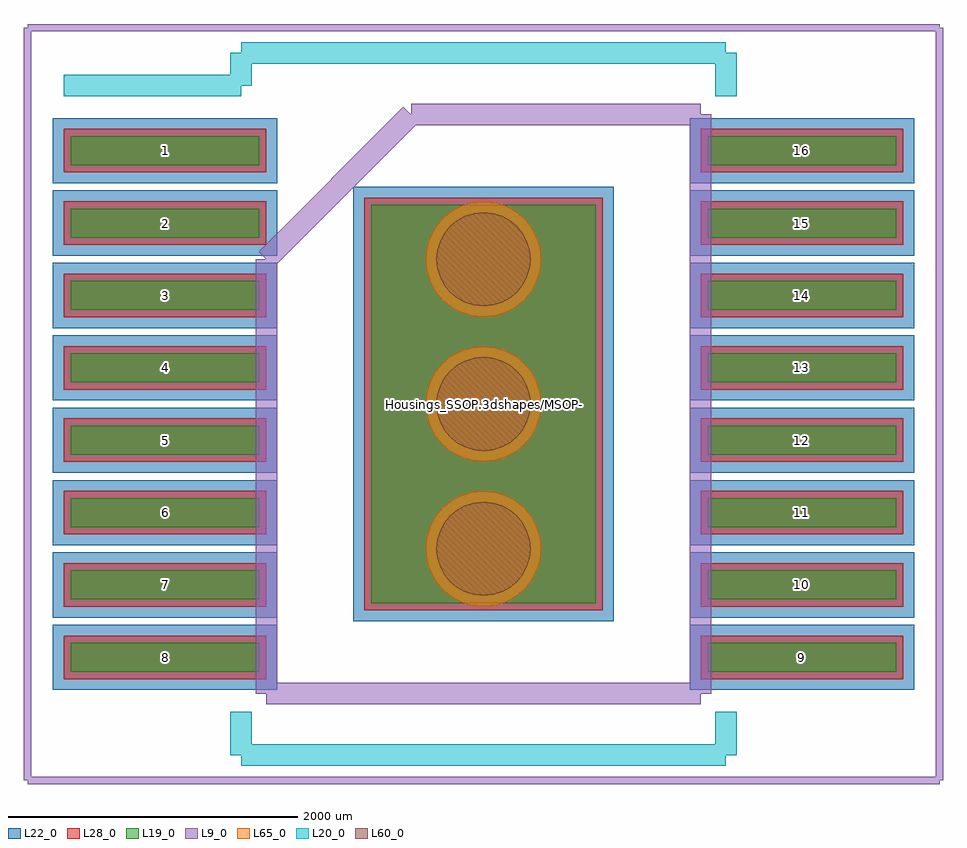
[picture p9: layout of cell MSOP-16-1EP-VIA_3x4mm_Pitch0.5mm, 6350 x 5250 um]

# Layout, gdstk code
import gdstk
lib = gdstk.Library(unit=1e-6, precision=1e-09)
def R(c, l, rs):  # rectangles x0, y0, x1, y1
    for r in rs: c.add(gdstk.rectangle(r[:2], r[2:], *l))
def A(c, l, x, y, w, h, nx, ny, dx, dy):  # array of equal rectangles
    R(c, l, [(x+i*dx, y+j*dy, x+i*dx+w, y+j*dy+h) for i in range(nx) for j in range(ny)])
def P(c, l, *ps):  # polygons
    for p in ps: c.add(gdstk.Polygon(p, *l))
L9_0 = (9, 0)
L19_0 = (19, 0)
L20_0 = (20, 0)
L22_0 = (22, 0)
L28_0 = (28, 0)
L60_0 = (60, 0)
L65_0 = (65, 0)

msop_16_1ep_via_3x4mm_pi = lib.new_cell('MSOP-16-1EP-VIA_3x4mm_Pitch0.5mm')
A(msop_16_1ep_via_3x4mm_pi, L19_0, -2850, -1850, 1300, 200, 1, 8, 0, 500)
A(msop_16_1ep_via_3x4mm_pi, L19_0, 1550, -1850, 1300, 200, 1, 8, 0, 500)
R(msop_16_1ep_via_3x4mm_pi, L19_0, [(-775,-1375,775,1375)])
A(msop_16_1ep_via_3x4mm_pi, L22_0, -2975, -1975, 1550, 450, 1, 8, 0, 500)
A(msop_16_1ep_via_3x4mm_pi, L22_0, 1425, -1975, 1550, 450, 1, 8, 0, 500)
R(msop_16_1ep_via_3x4mm_pi, L22_0, [(-900,-1500,900,1500)])
P(msop_16_1ep_via_3x4mm_pi, L22_0, [(400,1000),(392.314,1078.036),(369.552,1153.073),(332.588,1222.228),(282.843,1282.843),(222.228,1332.588),(153.073,1369.552),(78.036,1392.314),(0,1400),(-78.036,1392.314),(-153.073,1369.552),(-222.228,1332.588),(-282.843,1282.843),(-332.588,1222.228),(-369.552,1153.073),(-392.314,1078.036),(-400,1000),(-392.314,921.964),(-369.552,846.927),(-332.588,777.772),(-282.843,717.157),(-222.228,667.412),(-153.073,630.448),(-78.036,607.686),(0,600),(78.036,607.686),(153.073,630.448),(222.228,667.412),(282.843,717.157),(332.588,777.772),(369.552,846.927),(392.314,921.964)],
  [(400,-1000),(392.314,-921.964),(369.552,-846.927),(332.588,-777.772),(282.843,-717.157),(222.228,-667.412),(153.073,-630.448),(78.036,-607.686),(0,-600),(-78.036,-607.686),(-153.073,-630.448),(-222.228,-667.412),(-282.843,-717.157),(-332.588,-777.772),(-369.552,-846.927),(-392.314,-921.964),(-400,-1000),(-392.314,-1078.036),(-369.552,-1153.073),(-332.588,-1222.228),(-282.843,-1282.843),(-222.228,-1332.588),(-153.073,-1369.552),(-78.036,-1392.314),(0,-1400),(78.036,-1392.314),(153.073,-1369.552),(222.228,-1332.588),(282.843,-1282.843),(332.588,-1222.228),(369.552,-1153.073),(392.314,-1078.036)],
  [(400,0),(392.314,78.036),(369.552,153.073),(332.588,222.228),(282.843,282.843),(222.228,332.588),(153.073,369.552),(78.036,392.314),(0,400),(-78.036,392.314),(-153.073,369.552),(-222.228,332.588),(-282.843,282.843),(-332.588,222.228),(-369.552,153.073),(-392.314,78.036),(-400,0),(-392.314,-78.036),(-369.552,-153.073),(-332.588,-222.228),(-282.843,-282.843),(-222.228,-332.588),(-153.073,-369.552),(-78.036,-392.314),(0,-400),(78.036,-392.314),(153.073,-369.552),(222.228,-332.588),(282.843,-282.843),(332.588,-222.228),(369.552,-153.073),(392.314,-78.036)])
A(msop_16_1ep_via_3x4mm_pi, L28_0, -2900, -1900, 1400, 300, 1, 8, 0, 500)
A(msop_16_1ep_via_3x4mm_pi, L28_0, 1500, -1900, 1400, 300, 1, 8, 0, 500)
R(msop_16_1ep_via_3x4mm_pi, L28_0, [(-825,-1425,825,1425)])
P(msop_16_1ep_via_3x4mm_pi, L28_0, [(325,1000),(318.755,1063.404),(300.261,1124.372),(270.228,1180.56),(229.81,1229.81),(180.56,1270.228),(124.372,1300.261),(63.404,1318.755),(0,1325),(-63.404,1318.755),(-124.372,1300.261),(-180.56,1270.228),(-229.81,1229.81),(-270.228,1180.56),(-300.261,1124.372),(-318.755,1063.404),(-325,1000),(-318.755,936.596),(-300.261,875.628),(-270.228,819.44),(-229.81,770.19),(-180.56,729.772),(-124.372,699.739),(-63.404,681.245),(0,675),(63.404,681.245),(124.372,699.739),(180.56,729.772),(229.81,770.19),(270.228,819.44),(300.261,875.628),(318.755,936.596)],
  [(325,-1000),(318.755,-936.596),(300.261,-875.628),(270.228,-819.44),(229.81,-770.19),(180.56,-729.772),(124.372,-699.739),(63.404,-681.245),(0,-675),(-63.404,-681.245),(-124.372,-699.739),(-180.56,-729.772),(-229.81,-770.19),(-270.228,-819.44),(-300.261,-875.628),(-318.755,-936.596),(-325,-1000),(-318.755,-1063.404),(-300.261,-1124.372),(-270.228,-1180.56),(-229.81,-1229.81),(-180.56,-1270.228),(-124.372,-1300.261),(-63.404,-1318.755),(0,-1325),(63.404,-1318.755),(124.372,-1300.261),(180.56,-1270.228),(229.81,-1229.81),(270.228,-1180.56),(300.261,-1124.372),(318.755,-1063.404)],
  [(325,0),(318.755,63.404),(300.261,124.372),(270.228,180.56),(229.81,229.81),(180.56,270.228),(124.372,300.261),(63.404,318.755),(0,325),(-63.404,318.755),(-124.372,300.261),(-180.56,270.228),(-229.81,229.81),(-270.228,180.56),(-300.261,124.372),(-318.755,63.404),(-325,0),(-318.755,-63.404),(-300.261,-124.372),(-270.228,-180.56),(-229.81,-229.81),(-180.56,-270.228),(-124.372,-300.261),(-63.404,-318.755),(0,-325),(63.404,-318.755),(124.372,-300.261),(180.56,-270.228),(229.81,-229.81),(270.228,-180.56),(300.261,-124.372),(318.755,-63.404)])
P(msop_16_1ep_via_3x4mm_pi, L60_0, [(325,1000),(318.755,1063.404),(300.261,1124.372),(270.228,1180.56),(229.81,1229.81),(180.56,1270.228),(124.372,1300.261),(63.404,1318.755),(0,1325),(-63.404,1318.755),(-124.372,1300.261),(-180.56,1270.228),(-229.81,1229.81),(-270.228,1180.56),(-300.261,1124.372),(-318.755,1063.404),(-325,1000),(-318.755,936.596),(-300.261,875.628),(-270.228,819.44),(-229.81,770.19),(-180.56,729.772),(-124.372,699.739),(-63.404,681.245),(0,675),(63.404,681.245),(124.372,699.739),(180.56,729.772),(229.81,770.19),(270.228,819.44),(300.261,875.628),(318.755,936.596)],
  [(325,-1000),(318.755,-936.596),(300.261,-875.628),(270.228,-819.44),(229.81,-770.19),(180.56,-729.772),(124.372,-699.739),(63.404,-681.245),(0,-675),(-63.404,-681.245),(-124.372,-699.739),(-180.56,-729.772),(-229.81,-770.19),(-270.228,-819.44),(-300.261,-875.628),(-318.755,-936.596),(-325,-1000),(-318.755,-1063.404),(-300.261,-1124.372),(-270.228,-1180.56),(-229.81,-1229.81),(-180.56,-1270.228),(-124.372,-1300.261),(-63.404,-1318.755),(0,-1325),(63.404,-1318.755),(124.372,-1300.261),(180.56,-1270.228),(229.81,-1229.81),(270.228,-1180.56),(300.261,-1124.372),(318.755,-1063.404)],
  [(325,0),(318.755,63.404),(300.261,124.372),(270.228,180.56),(229.81,229.81),(180.56,270.228),(124.372,300.261),(63.404,318.755),(0,325),(-63.404,318.755),(-124.372,300.261),(-180.56,270.228),(-229.81,229.81),(-270.228,180.56),(-300.261,124.372),(-318.755,63.404),(-325,0),(-318.755,-63.404),(-300.261,-124.372),(-270.228,-180.56),(-229.81,-229.81),(-180.56,-270.228),(-124.372,-300.261),(-63.404,-318.755),(0,-325),(63.404,-318.755),(124.372,-300.261),(180.56,-270.228),(229.81,-229.81),(270.228,-180.56),(300.261,-124.372),(318.755,-63.404)])
P(msop_16_1ep_via_3x4mm_pi, L65_0, [(400,1000),(392.314,1078.036),(369.552,1153.073),(332.588,1222.228),(282.843,1282.843),(222.228,1332.588),(153.073,1369.552),(78.036,1392.314),(0,1400),(-78.036,1392.314),(-153.073,1369.552),(-222.228,1332.588),(-282.843,1282.843),(-332.588,1222.228),(-369.552,1153.073),(-392.314,1078.036),(-400,1000),(-392.314,921.964),(-369.552,846.927),(-332.588,777.772),(-282.843,717.157),(-222.228,667.412),(-153.073,630.448),(-78.036,607.686),(0,600),(78.036,607.686),(153.073,630.448),(222.228,667.412),(282.843,717.157),(332.588,777.772),(369.552,846.927),(392.314,921.964)],
  [(400,-1000),(392.314,-921.964),(369.552,-846.927),(332.588,-777.772),(282.843,-717.157),(222.228,-667.412),(153.073,-630.448),(78.036,-607.686),(0,-600),(-78.036,-607.686),(-153.073,-630.448),(-222.228,-667.412),(-282.843,-717.157),(-332.588,-777.772),(-369.552,-846.927),(-392.314,-921.964),(-400,-1000),(-392.314,-1078.036),(-369.552,-1153.073),(-332.588,-1222.228),(-282.843,-1282.843),(-222.228,-1332.588),(-153.073,-1369.552),(-78.036,-1392.314),(0,-1400),(78.036,-1392.314),(153.073,-1369.552),(222.228,-1332.588),(282.843,-1282.843),(332.588,-1222.228),(369.552,-1153.073),(392.314,-1078.036)],
  [(400,0),(392.314,78.036),(369.552,153.073),(332.588,222.228),(282.843,282.843),(222.228,332.588),(153.073,369.552),(78.036,392.314),(0,400),(-78.036,392.314),(-153.073,369.552),(-222.228,332.588),(-282.843,282.843),(-332.588,222.228),(-369.552,153.073),(-392.314,78.036),(-400,0),(-392.314,-78.036),(-369.552,-153.073),(-332.588,-222.228),(-282.843,-282.843),(-222.228,-332.588),(-153.073,-369.552),(-78.036,-392.314),(0,-400),(78.036,-392.314),(153.073,-369.552),(222.228,-332.588),(282.843,-282.843),(332.588,-222.228),(369.552,-153.073),(392.314,-78.036)])
msop_16_1ep_via_3x4mm_pi.add(gdstk.FlexPath([(-1675,2200),(-2900,2200)], 149.998, ends="flush", simple_path=True, layer=20, datatype=0))  # L20_0
msop_16_1ep_via_3x4mm_pi.add(gdstk.FlexPath([(-1675,-2425),(1675,-2425)], 149.998, ends="flush", simple_path=True, layer=20, datatype=0))  # L20_0
msop_16_1ep_via_3x4mm_pi.add(gdstk.FlexPath([(-1675,2425),(1675,2425)], 149.998, ends="flush", simple_path=True, layer=20, datatype=0))  # L20_0
msop_16_1ep_via_3x4mm_pi.add(gdstk.FlexPath([(-1675,-2425),(-1675,-2125)], 149.998, ends="flush", simple_path=True, layer=20, datatype=0))  # L20_0
msop_16_1ep_via_3x4mm_pi.add(gdstk.FlexPath([(1675,-2425),(1675,-2125)], 149.998, ends="flush", simple_path=True, layer=20, datatype=0))  # L20_0
msop_16_1ep_via_3x4mm_pi.add(gdstk.FlexPath([(1675,2425),(1675,2125)], 149.998, ends="flush", simple_path=True, layer=20, datatype=0))  # L20_0
msop_16_1ep_via_3x4mm_pi.add(gdstk.FlexPath([(-1675,2425),(-1675,2200)], 149.998, ends="flush", simple_path=True, layer=20, datatype=0))  # L20_0
msop_16_1ep_via_3x4mm_pi.add(gdstk.FlexPath([(-3150,-2600),(3150,-2600)], 50, ends="flush", simple_path=True, layer=9, datatype=0))  # L9_0
msop_16_1ep_via_3x4mm_pi.add(gdstk.FlexPath([(-3150,2600),(3150,2600)], 50, ends="flush", simple_path=True, layer=9, datatype=0))  # L9_0
msop_16_1ep_via_3x4mm_pi.add(gdstk.FlexPath([(3150,2600),(3150,-2600)], 50, ends="flush", simple_path=True, layer=9, datatype=0))  # L9_0
msop_16_1ep_via_3x4mm_pi.add(gdstk.FlexPath([(-3150,2600),(-3150,-2600)], 50, ends="flush", simple_path=True, layer=9, datatype=0))  # L9_0
msop_16_1ep_via_3x4mm_pi.add(gdstk.FlexPath([(-1500,1000),(-500,2000)], 149.998, ends="flush", simple_path=True, layer=9, datatype=0))  # L9_0
msop_16_1ep_via_3x4mm_pi.add(gdstk.FlexPath([(-1500,-2000),(-1500,1000)], 149.998, ends="flush", simple_path=True, layer=9, datatype=0))  # L9_0
msop_16_1ep_via_3x4mm_pi.add(gdstk.FlexPath([(1500,-2000),(-1500,-2000)], 149.998, ends="flush", simple_path=True, layer=9, datatype=0))  # L9_0
msop_16_1ep_via_3x4mm_pi.add(gdstk.FlexPath([(1500,2000),(1500,-2000)], 149.998, ends="flush", simple_path=True, layer=9, datatype=0))  # L9_0
msop_16_1ep_via_3x4mm_pi.add(gdstk.FlexPath([(-500,2000),(1500,2000)], 149.998, ends="flush", simple_path=True, layer=9, datatype=0))  # L9_0
msop_16_1ep_via_3x4mm_pi.add(gdstk.Label('Housings_SSOP.3dshapes/MSOP-16_3x4mm_Pitch0.5mm.wrl', (0,0), layer=12, texttype=0))
msop_16_1ep_via_3x4mm_pi.add(gdstk.Label('17', (0,0), layer=28, texttype=0))
msop_16_1ep_via_3x4mm_pi.add(gdstk.Label('9', (2200,-1750), layer=28, texttype=0))
msop_16_1ep_via_3x4mm_pi.add(gdstk.Label('10', (2200,-1250), layer=28, texttype=0))
msop_16_1ep_via_3x4mm_pi.add(gdstk.Label('11', (2200,-750), layer=28, texttype=0))
msop_16_1ep_via_3x4mm_pi.add(gdstk.Label('8', (-2200,-1750), layer=28, texttype=0))
msop_16_1ep_via_3x4mm_pi.add(gdstk.Label('7', (-2200,-1250), layer=28, texttype=0))
msop_16_1ep_via_3x4mm_pi.add(gdstk.Label('6', (-2200,-750), layer=28, texttype=0))
msop_16_1ep_via_3x4mm_pi.add(gdstk.Label('16', (2200,1750), layer=28, texttype=0))
msop_16_1ep_via_3x4mm_pi.add(gdstk.Label('15', (2200,1250), layer=28, texttype=0))
msop_16_1ep_via_3x4mm_pi.add(gdstk.Label('14', (2200,750), layer=28, texttype=0))
msop_16_1ep_via_3x4mm_pi.add(gdstk.Label('13', (2200,250), layer=28, texttype=0))
msop_16_1ep_via_3x4mm_pi.add(gdstk.Label('12', (2200,-250), layer=28, texttype=0))
msop_16_1ep_via_3x4mm_pi.add(gdstk.Label('5', (-2200,-250), layer=28, texttype=0))
msop_16_1ep_via_3x4mm_pi.add(gdstk.Label('4', (-2200,250), layer=28, texttype=0))
msop_16_1ep_via_3x4mm_pi.add(gdstk.Label('3', (-2200,750), layer=28, texttype=0))
msop_16_1ep_via_3x4mm_pi.add(gdstk.Label('2', (-2200,1250), layer=28, texttype=0))
msop_16_1ep_via_3x4mm_pi.add(gdstk.Label('1', (-2200,1750), layer=28, texttype=0))
msop_16_1ep_via_3x4mm_pi.add(gdstk.Label('type', (0,-3500), layer=9, texttype=0))
msop_16_1ep_via_3x4mm_pi.add(gdstk.Label('devicename', (0,3350), layer=9, texttype=0))

lib.write_gds('MSOP-16-1EP-VIA_3x4mm_Pitch0.5mm.gds')
